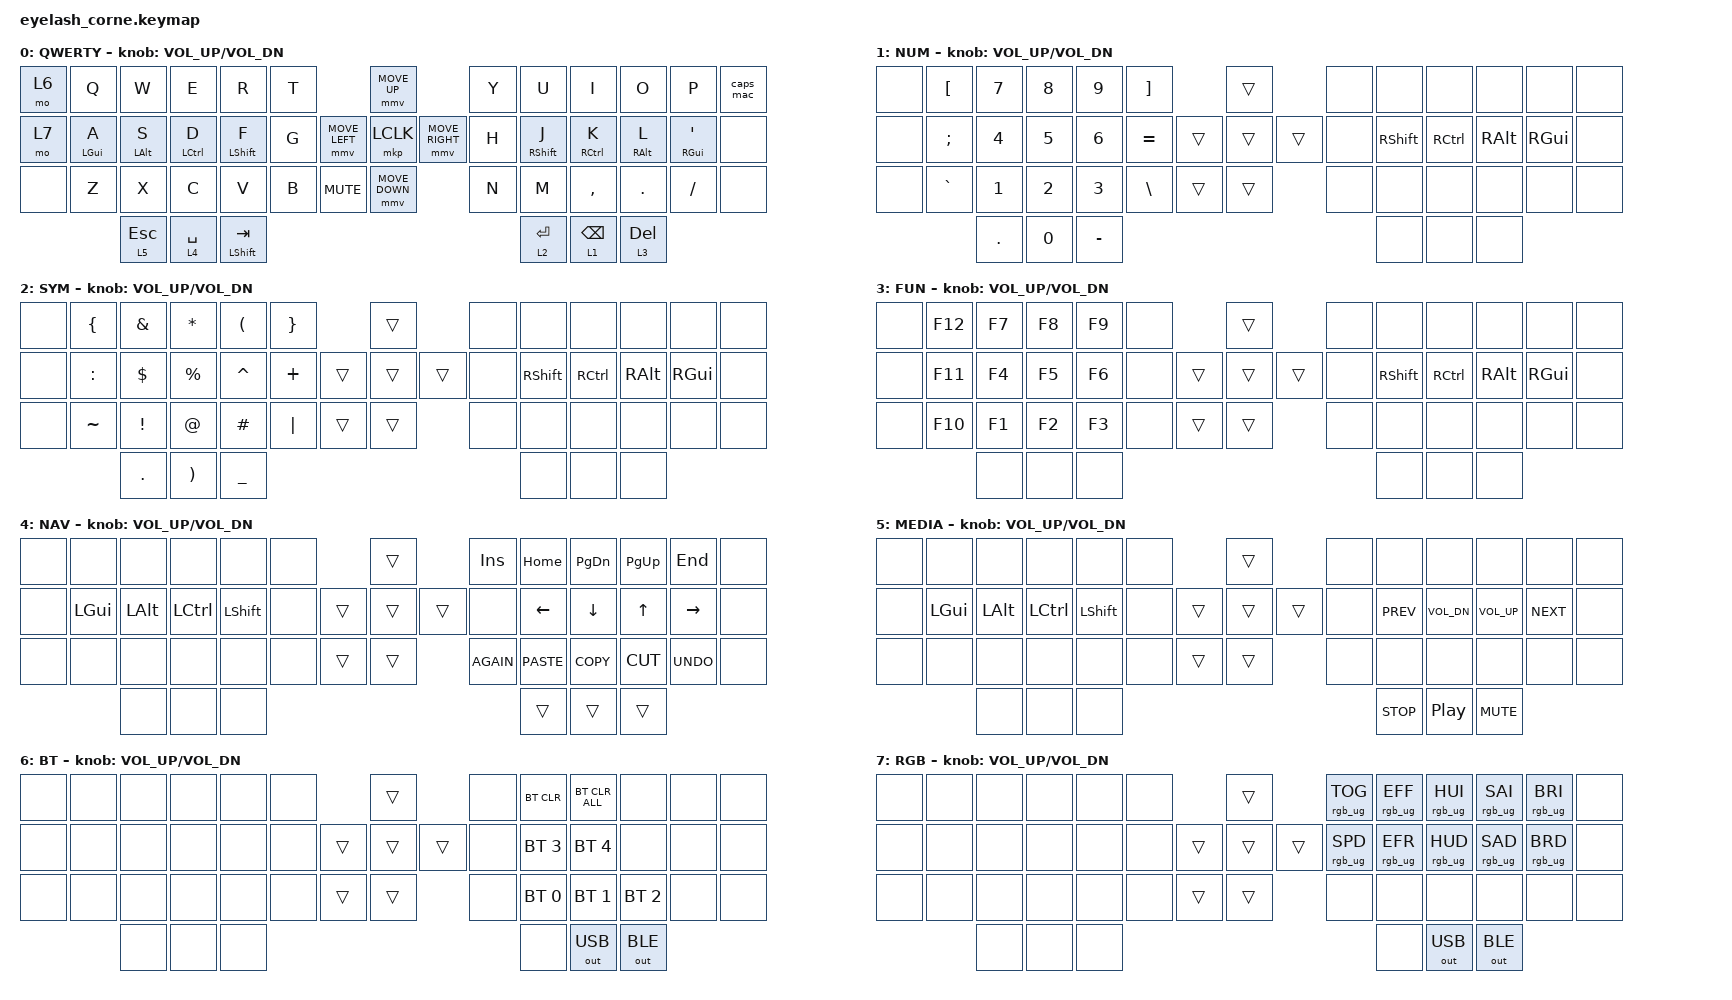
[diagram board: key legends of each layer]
#define ZMK_POINTING_DEFAULT_MOVE_VAL 1200
#define ZMK_POINTING_DEFAULT_SCRL_VAL 25

#include <input/processors.dtsi>
#include <zephyr/dt-bindings/input/input-event-codes.h>
#include <behaviors.dtsi>
#include <dt-bindings/zmk/bt.h>
#include <dt-bindings/zmk/keys.h>
#include <dt-bindings/zmk/outputs.h>
#include <dt-bindings/zmk/pointing.h>
#include <dt-bindings/zmk/rgb.h>

&mmv_input_listener { input-processors = <&zip_xy_scaler 2 1>; };

&msc_input_listener { input-processors = <&zip_scroll_scaler 2 1>; };

&msc {
    acceleration-exponent = <1>;        // 0
    time-to-max-speed-ms = <100>;       // 300
    delay-ms = <0>;                     // 0
};

&mmv {
    time-to-max-speed-ms = <500>;
    acceleration-exponent = <1>;
    trigger-period-ms = <16>;
};

&lt {
    tapping-term-ms = <150>;
    quick-tap-ms = <140>;
};

&soft_off { hold-time-ms = <2000>; };

 / {
    behaviors {
        /*
         * Custom home-row mod hold-taps to mirror existing QMK tapping-term tweaks:
         * - F/J shift mods: TAPPING_TERM - 50
         * - S/L alt mods:   TAPPING_TERM + 50
         *
         * Everything else uses a normal 200ms-ish mod-tap.
         */
        mtl: mod_tap_left {
            compatible = "zmk,behavior-hold-tap";
            #binding-cells = <2>;
            flavor = "balanced";
            tapping-term-ms = <200>;
            quick-tap-ms = <180>;
            bindings = <&kp>, <&kp>;
            hold-trigger-key-positions = <7 8 9 10 11 22 23 24 25 26 36 37 38 39 40 43 45 46 47>;
            hold-trigger-on-release;
        };

        mtr: mod_tap_right {
            compatible = "zmk,behavior-hold-tap";
            #binding-cells = <2>;
            flavor = "balanced";
            tapping-term-ms = <200>;
            quick-tap-ms = <180>;
            bindings = <&kp>, <&kp>;
            hold-trigger-key-positions = <1 2 3 4 5 14 15 16 17 18 29 30 31 32 33 42 43 44>;
            hold-trigger-on-release;
        };

        msl: mod_shift_left {
            compatible = "zmk,behavior-hold-tap";
            #binding-cells = <2>;
            flavor = "balanced";
            tapping-term-ms = <200>;
            quick-tap-ms = <180>;
            bindings = <&kp>, <&kp>;
            hold-trigger-key-positions = <7 8 9 10 11 22 23 24 25 26 36 37 38 39 40 43 45 46 47>;
            hold-trigger-on-release;
        };

        msr: mod_shift_right {
            compatible = "zmk,behavior-hold-tap";
            #binding-cells = <2>;
            flavor = "balanced";
            tapping-term-ms = <200>;
            quick-tap-ms = <180>;
            bindings = <&kp>, <&kp>;
            hold-trigger-key-positions = <1 2 3 4 5 14 15 16 17 18 29 30 31 32 33 42 43 44>;
            hold-trigger-on-release;
        };

        mslt: mod_shift_left_thumb {
            compatible = "zmk,behavior-hold-tap";
            #binding-cells = <2>;
            flavor = "balanced";
            tapping-term-ms = <150>;
            quick-tap-ms = <140>;
            bindings = <&kp>, <&kp>;
        };

        my_caps_word: caps_word {
            compatible = "zmk,behavior-caps-word";
            #binding-cells = <0>;
            // Add MINUS and UNDERSCORE to the list of non-breaking keys
            continue-list = <UNDERSCORE MINUS BACKSPACE>;
        };
    };

    rgb_encoder: rgb_encoder {
        compatible = "zmk,behavior-sensor-rotate";
        #sensor-binding-cells = <0>;
        bindings = <&rgb_ug RGB_BRI>, <&rgb_ug RGB_BRD>;
    };

    scroll_encoder: scroll_encoder {
        compatible = "zmk,behavior-sensor-rotate";
        #sensor-binding-cells = <0>;
        bindings = <&msc SCRL_DOWN>, <&msc SCRL_UP>;

        tap-ms = <100>;
    };

    macros {
        caps_mac: caps_rgb_macro {
            compatible = "zmk,behavior-macro";
            #binding-cells = <0>;
            bindings
                = <&kp CLCK>
                , <&rgb_ug RGB_TOG>
                ;
        };
    };


    combos {
        compatible = "zmk,combos";

        softoff {
            bindings = <&soft_off>;
            key-positions = <1 15 29>;
        };

        combo_caps_word {
            timeout-ms = <50>;
            key-positions = <17 23>;
            bindings = <&my_caps_word>;
        };
    };

    keymap {
      compatible = "zmk,keymap";

      default_layer {
        display-name = "QWERTY";
        bindings = <

          &mo 6 &kp Q       &kp W       &kp E        &kp R         &kp T                  &mmv MOVE_UP                &kp Y &kp U         &kp I        &kp O       &kp P         &caps_mac
          &mo 7 &mtl LGUI A &mtl LALT S &mtl LCTRL D &msl LSHIFT F &kp G   &mmv MOVE_LEFT &mkp LCLK &mmv MOVE_RIGHT   &kp H &msr RSHIFT J &mtr RCTRL K &mtr RALT L &mtr RGUI SQT &none
          &none &kp Z       &kp X       &kp C        &kp V         &kp B   &kp C_MUTE     &mmv MOVE_DOWN              &kp N &kp M         &kp COMMA    &kp DOT     &kp FSLH      &none

                                &lt 5 ESC  &lt 4 SPACE  &mslt LSHIFT TAB                                                     &lt 2 ENTER  &lt 1 BSPC  &lt 3 DEL
          >;

        sensor-bindings = <&inc_dec_kp C_VOL_UP C_VOL_DN>;
      };

      num_layer {
        display-name = "NUM";
        bindings = <

          &none &kp LBKT  &kp N7 &kp N8 &kp N9 &kp RBKT                 &trans          &none &none      &none     &none    &none    &none
          &none &kp SEMI  &kp N4 &kp N5 &kp N6 &kp EQUAL         &trans &trans &trans   &none &kp RSHIFT &kp RCTRL &kp RALT &kp RGUI &none
          &none &kp GRAVE &kp N1 &kp N2 &kp N3 &kp BSLH    &trans       &trans          &none &none      &none     &none    &none    &none

                              &kp DOT  &kp N0  &kp MINUS                                &none  &none  &none
          >;

        sensor-bindings = <&inc_dec_kp C_VOL_UP C_VOL_DN>;
      };

      sym_layer {
        display-name = "SYM";
        bindings = <

          &none &kp LBRC  &kp AMPS &kp ASTRK &kp LPAR  &kp RBRC                 &trans         &none &none      &none     &none    &none    &none
          &none &kp COLON &kp DLLR &kp PRCNT &kp CARET &kp PLUS         &trans &trans &trans   &none &kp RSHIFT &kp RCTRL &kp RALT &kp RGUI &none
          &none &kp TILDE &kp EXCL &kp AT    &kp HASH  &kp PIPE    &trans       &trans         &none &none      &none     &none    &none    &none

                                     &kp DOT &kp RPAR &kp UNDER                                &none  &none  &none
          >;

        sensor-bindings = <&inc_dec_kp C_VOL_UP C_VOL_DN>;
      };

      fun_layer {
        display-name = "FUN";
        bindings = <

          &none &kp F12 &kp F7 &kp F8 &kp F9 &none                 &trans         &none &none      &none     &none    &none    &none
          &none &kp F11 &kp F4 &kp F5 &kp F6 &none         &trans &trans &trans   &none &kp RSHIFT &kp RCTRL &kp RALT &kp RGUI &none
          &none &kp F10 &kp F1 &kp F2 &kp F3 &none    &trans       &trans         &none &none      &none     &none    &none    &none

                               &none  &none  &none                                &none  &none  &none

          >;

        sensor-bindings = <&inc_dec_kp C_VOL_UP C_VOL_DN>;
      };

      nav_layer {
        display-name = "NAV";
        bindings = <

          &none &none    &none    &none     &none      &none                 &trans          &kp INS     &kp HOME    &kp PG_DN   &kp PG_UP &kp END     &none
          &none &kp LGUI &kp LALT &kp LCTRL &kp LSHIFT &none          &trans &trans &trans   &none       &kp LEFT    &kp DOWN    &kp UP    &kp RIGHT   &none
          &none &none    &none    &none     &none      &none    &trans       &trans          &kp K_AGAIN &kp K_PASTE &kp K_COPY  &kp K_CUT &kp K_UNDO  &none

                                         &none  &none  &none                                 &trans  &trans  &trans
          >;

        sensor-bindings = <&inc_dec_kp C_VOL_UP C_VOL_DN>;
      };

      media_layer {
        display-name = "MEDIA";
        bindings = <

          &none &none    &none    &none     &none      &none                 &trans          &none &none      &none        &none        &none      &none
          &none &kp LGUI &kp LALT &kp LCTRL &kp LSHIFT &none          &trans &trans &trans   &none &kp C_PREV &kp C_VOL_DN &kp C_VOL_UP &kp C_NEXT &none
          &none &none    &none    &none     &none      &none    &trans       &trans          &none &none      &none        &none        &none      &none

                                         &none  &none  &none                                 &kp C_STOP  &kp C_PP  &kp C_MUTE
          >;

        sensor-bindings = <&inc_dec_kp C_VOL_UP C_VOL_DN>;
      };

      bluetooth_layer {
          display-name = "BT";
          bindings = <

            &none &none &none &none &none &none                &trans          &none &bt BT_CLR   &bt BT_CLR_ALL &none        &none &none
            &none &none &none &none &none &none         &trans &trans &trans   &none &bt BT_SEL 3 &bt BT_SEL 4   &none        &none &none
            &none &none &none &none &none &none    &trans       &trans         &none &bt BT_SEL 0 &bt BT_SEL 1   &bt BT_SEL 2 &none &none

                            &none  &none  &none                                &none  &out OUT_USB  &out OUT_BLE

            >;

          sensor-bindings = <&inc_dec_kp C_VOL_UP C_VOL_DN>;
      };

      rgb_layer {
          display-name = "RGB";
          bindings = <

            &none &none &none &none &none &none                &trans          &rgb_ug RGB_TOG &rgb_ug RGB_EFF &rgb_ug RGB_HUI &rgb_ug RGB_SAI &rgb_ug RGB_BRI &none
            &none &none &none &none &none &none         &trans &trans &trans   &rgb_ug RGB_SPD &rgb_ug RGB_EFR &rgb_ug RGB_HUD &rgb_ug RGB_SAD &rgb_ug RGB_BRD &none
            &none &none &none &none &none &none    &trans       &trans         &none           &none           &none           &none           &none           &none

                            &none  &none  &none                                &none  &out OUT_USB  &out OUT_BLE

            >;

          sensor-bindings = <&inc_dec_kp C_VOL_UP C_VOL_DN>;
      };
    };
};
